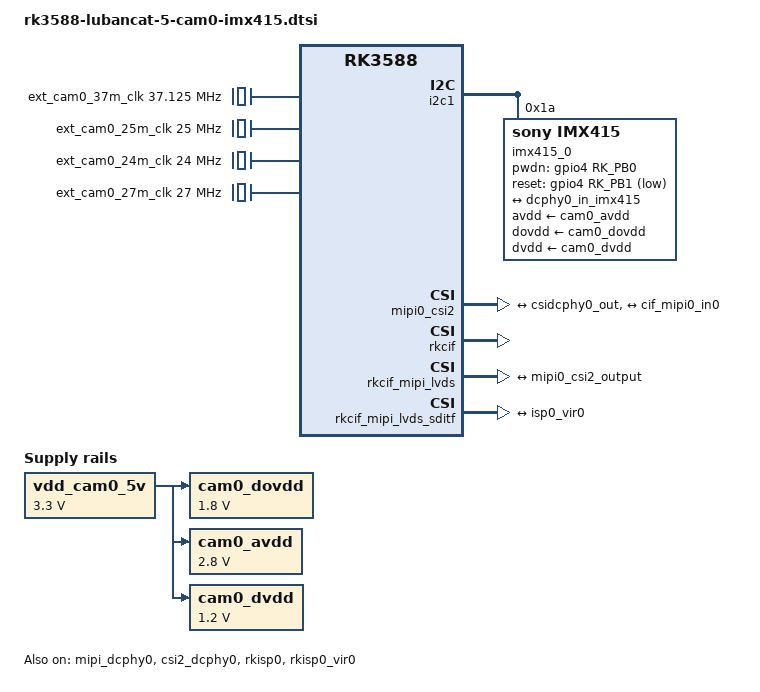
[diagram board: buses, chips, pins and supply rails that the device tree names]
// SPDX-License-Identifier: (GPL-2.0+ OR MIT)
/*
 * Copyright (c) 2020 Rockchip Electronics Co., Ltd.
 *
 */

/ {
	ext_cam0_37m_clk: external-camera-37m-clock {
		compatible = "fixed-clock";
		clock-frequency = <37125000>;
		clock-output-names = "ext_cam_37m_clk";
		#clock-cells = <0>;
	};

	ext_cam0_25m_clk: external-camera-25m-clock {
		compatible = "fixed-clock";
		clock-frequency = <25000000>;
		clock-output-names = "ext_cam_25m_clk";
		#clock-cells = <0>;
	};

	ext_cam0_24m_clk: external-camera-24m-clock {
		compatible = "fixed-clock";
		#clock-cells = <0>;
		clock-frequency = <24000000>;
		clock-output-names = "ext_cam_24m_clk";
	};

	ext_cam0_27m_clk: external-camera-27m-clock {
		compatible = "fixed-clock";
		#clock-cells = <0>;
		clock-frequency = <27000000>;
		clock-output-names = "ext_cam_27m_clk";
	};

	vdd_cam0_5v: vdd-cam0-5v-regulator {
		compatible = "regulator-fixed";
		regulator-name = "vdd_cam_5v";
		regulator-always-on;
		regulator-boot-on;
		regulator-min-microvolt = <3300000>;
		regulator-max-microvolt = <3300000>;
	};

	cam0_dovdd: cam0-dovdd {
		compatible = "regulator-fixed";
		regulator-name = "cam_dovdd";
		regulator-always-on;
		regulator-boot-on;
		regulator-min-microvolt = <1800000>;
		regulator-max-microvolt = <1800000>;
		vin-supply = <&vdd_cam0_5v>;
	};

	cam0_avdd: cam0-avdd {
		compatible = "regulator-fixed";
		regulator-name = "cam_avdd";
		regulator-always-on;
		regulator-boot-on;
		regulator-min-microvolt = <2800000>;
		regulator-max-microvolt = <2800000>;
		vin-supply = <&vdd_cam0_5v>;
	};

	cam0_dvdd: cam0-dvdd {
		compatible = "regulator-fixed";
		regulator-name = "cam_dvdd";
		regulator-always-on;
		regulator-boot-on;
		regulator-min-microvolt = <1200000>;
		regulator-max-microvolt = <1200000>;
		vin-supply = <&vdd_cam0_5v>;
	};
};

/* Link path: sensor->csi2_dcphy0->mipi0_csi2->rkcif_mipi_lvds--->rkcif_mipi_lvds_sditf->rkisp0_vir0 */
&i2c1 {
	status = "okay";
	pinctrl-names = "default";
	pinctrl-0 = <&i2c1m2_xfer>;

	imx415_0: imx415-0@1a {
		compatible = "sony,imx415";
		status = "okay";
		reg = <0x1a>;
		clocks = <&ext_cam0_37m_clk>;
		clock-names = "xvclk";
		avdd-supply = <&cam0_avdd>;
		dovdd-supply = <&cam0_dovdd>;
		dvdd-supply = <&cam0_dvdd>;
		pwdn-gpios = <&gpio4 RK_PB0 GPIO_ACTIVE_HIGH>;
		reset-gpios = <&gpio4 RK_PB1 GPIO_ACTIVE_LOW>;

		rockchip,camera-module-index = <0>;
		rockchip,camera-module-facing = "back";
		rockchip,camera-module-name = "CMK-OT2022-PX1";
		rockchip,camera-module-lens-name = "IR0147-50IRC-8M-F20";
		port {
			imx415_out0: endpoint {
				remote-endpoint = <&dcphy0_in_imx415>;
				data-lanes = <1 2 3 4>;
			};
		};
	};
};

&mipi_dcphy0 {
	status = "okay";
};

&csi2_dcphy0 {
	status = "okay";
	
	ports {
		#address-cells = <1>;
		#size-cells = <0>;

		port@0 {
			reg = <0>;
			#address-cells = <1>;
			#size-cells = <0>;

			dcphy0_in_imx415: endpoint@0 {
				reg = <0>;
				remote-endpoint = <&imx415_out0>;
				data-lanes = <1 2 3 4>;
			};
		};

		port@1 {
			reg = <1>;
			#address-cells = <1>;
			#size-cells = <0>;

			csidcphy0_out: endpoint@0 {
				reg = <0>;
				remote-endpoint = <&mipi0_csi2_input>;
			};
		};
	};
};

&mipi0_csi2 {
	status = "okay";

	ports {
		#address-cells = <1>;
		#size-cells = <0>;

		port@0 {
			reg = <0>;
			#address-cells = <1>;
			#size-cells = <0>;

			mipi0_csi2_input: endpoint@1 {
				reg = <1>;
				remote-endpoint = <&csidcphy0_out>;
			};
		};

		port@1 {
			reg = <1>;
			#address-cells = <1>;
			#size-cells = <0>;

			mipi0_csi2_output: endpoint@0 {
				reg = <0>;
				remote-endpoint = <&cif_mipi0_in0>;
			};
		};
	};
};

&rkcif {
	status = "okay";
};

&rkcif_mipi_lvds {
	status = "okay";

	port {
		cif_mipi0_in0: endpoint {
			remote-endpoint = <&mipi0_csi2_output>;
		};
	};
};

&rkcif_mipi_lvds_sditf {
	status = "okay";

	port {
		mipi_lvds_sditf: endpoint {
			remote-endpoint = <&isp0_vir0>;
		};
	};
};

&rkcif_mmu {
	status = "okay";
};

&rkisp0 {
	status = "okay";
};

&isp0_mmu {
	status = "okay";
};

&rkisp0_vir0 {
	status = "okay";

	port {
		#address-cells = <1>;
		#size-cells = <0>;

		isp0_vir0: endpoint@0 {
			reg = <0>;
			remote-endpoint = <&mipi_lvds_sditf>;
		};
	};
};
